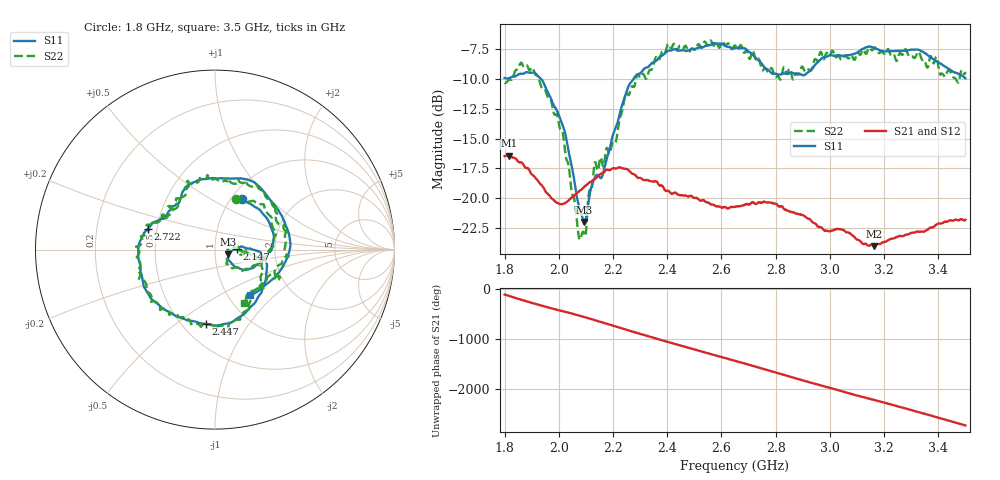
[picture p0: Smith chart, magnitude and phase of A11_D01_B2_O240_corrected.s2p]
! Created with skrf 1.9.0 (http://scikit-rf.org).
# Hz S RI R 50.0
!freq ReS11 ImS11 ReS21 ImS21 ReS12 ImS12 ReS22 ImS22
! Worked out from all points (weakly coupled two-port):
!   1601 points, 1.8 GHz to 3.5 GHz, reference 50 ohm
!   highest |S21| = -16.44 dB at 1.817 GHz (marker M1); lowest = -24.1 dB at 3.162 GHz (marker M2)
!   lowest |S11| = -22.0 dB at 2.093 GHz (marker M3), VSWR 1.17, Z = 58 - j2.94 ohm
!   |S11| at or under -10 dB: 1.935 GHz to 2.275 GHz (340.1 MHz wide, 16.2 % of centre)
!   |S22| runs from -23.5 to -6.7 dB; largest |S21 - S12| = 0.0029
!   S11 on the Smith chart (normalised r, x): 1.8 GHz: 1.12, +0.70; 2.147 GHz: 1.28, +0.01; 2.447 GHz: 0.65, -0.65; 2.722 GHz: 0.44, +0.12; 3.5 GHz: 1.26, -0.71
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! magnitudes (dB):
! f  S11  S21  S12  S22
! 1.8 GHz  -9.9  -16.5  -16.5  -10.3
! 1.817 GHz  -9.9  -16.4  -16.5  -10.0
! 1.901 GHz  -9.5  -18.0  -18.0  -9.0
! 1.969 GHz  -11.5  -19.9  -19.9  -11.7
! 2.021 GHz  -14.3  -20.5  -20.5  -15.7
! 2.072 GHz  -20.5  -19.5  -19.5  -23.0
! 2.084 GHz  -21.4  -19.3  -19.2  -23.1
! 2.093 GHz  -22.0  -19.1  -19.1  -23.0
! 2.13 GHz  -18.4  -18.4  -18.4  -17.3
! 2.147 GHz  -18.2  -18.1  -18.1  -17.3
! 2.209 GHz  -14.1  -17.5  -17.5  -15.3
! 2.259 GHz  -10.5  -17.7  -17.7  -11.3
! 2.367 GHz  -8.2  -18.8  -18.8  -8.3
! 2.447 GHz  -7.6  -19.8  -19.8  -7.2
! 2.65 GHz  -7.4  -20.8  -20.7  -7.2
! 2.722 GHz  -8.1  -20.5  -20.4  -8.0
! 2.812 GHz  -9.6  -20.7  -20.6  -9.8
! 2.934 GHz  -9.2  -22.0  -22.0  -9.2
! 3.162 GHz  -7.3  -24.1  -24.0  -7.4
! 3.217 GHz  -7.6  -23.5  -23.5  -7.6
! 3.331 GHz  -7.6  -22.9  -22.9  -7.8
! 3.5 GHz  -9.9  -21.8  -21.8  -9.4
